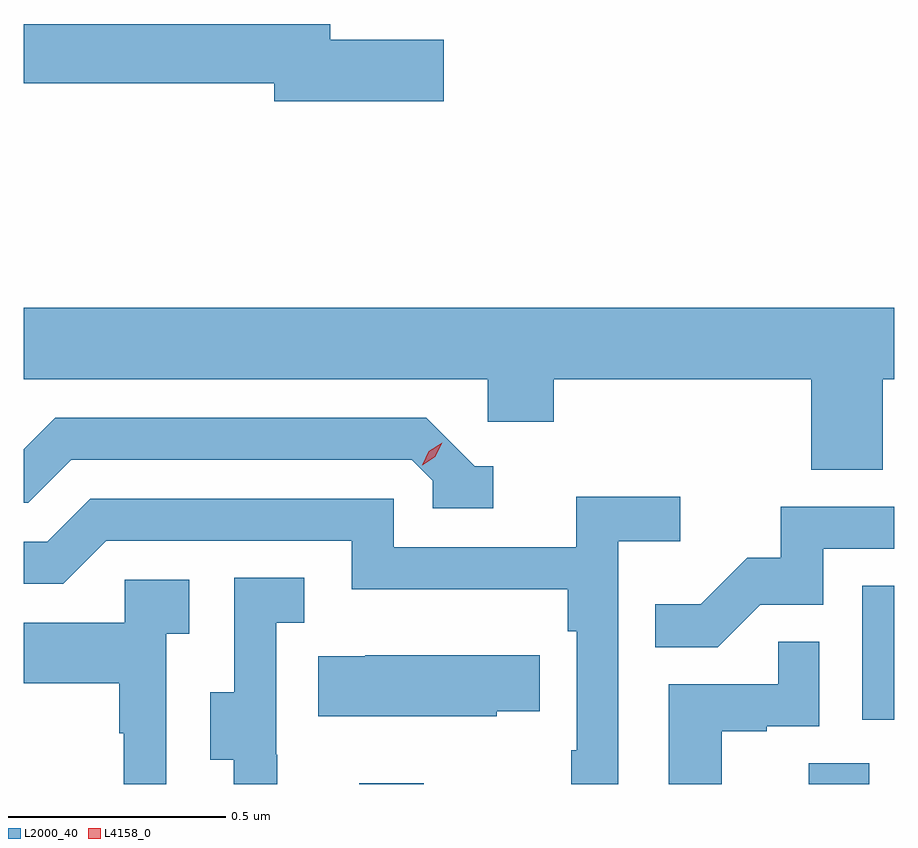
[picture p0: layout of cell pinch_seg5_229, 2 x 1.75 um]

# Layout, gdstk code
import gdstk
lib = gdstk.Library(unit=1e-6, precision=1e-09)
def R(c, l, rs):  # rectangles x0, y0, x1, y1
    for r in rs: c.add(gdstk.rectangle(r[:2], r[2:], *l))
def P(c, l, *ps):  # polygons
    for p in ps: c.add(gdstk.Polygon(p, *l))
L2000_40 = (2000, 40)
L4158_0 = (4158, 0)

pinch_seg5_229 = lib.new_cell('pinch_seg5_229')
R(pinch_seg5_229, L2000_40, [(961.409,907.778,961.557,907.78), (962.441,907.778,962.581,907.826), (962.564,907.926,962.638,908.233)])
P(pinch_seg5_229, L2000_40, [(961.603,909.488),(961.342,909.488),(961.342,909.524),(960.638,909.524),(960.638,909.388),(961.214,909.388),(961.214,909.346),(961.603,909.346)],
  [(962.612,908.708),(962.638,908.708),(962.638,908.872),(960.638,908.872),(960.638,908.708),(961.704,908.708),(961.704,908.61),(961.856,908.61),(961.856,908.708),(962.447,908.708),(962.447,908.5),(962.612,908.5)],
  [(961.717,908.508),(961.674,908.508),(961.563,908.619),(960.71,908.619),(960.638,908.547),(960.638,908.424),(960.648,908.424),(960.747,908.523),(961.53,908.523),(961.578,908.475),(961.578,908.412),(961.717,908.412)],
  [(962.004,908.336),(962.146,908.336),(962.146,908.438),(961.907,908.438),(961.907,908.322),(961.488,908.322),(961.488,908.433),(960.791,908.433),(960.692,908.334),(960.638,908.334),(960.638,908.238),(960.729,908.238),(960.828,908.337),(961.392,908.337),(961.392,908.225),(961.888,908.225),(961.888,908.129),(961.908,908.129),(961.908,907.856),(961.896,907.856),(961.896,907.778),(962.004,907.778)],
  [(962.33,908.19),(962.475,908.19),(962.475,908.319),(962.638,908.319),(962.638,908.415),(962.377,908.415),(962.377,908.298),(962.3,908.298),(962.193,908.191),(962.089,908.191),(962.089,908.092),(962.232,908.092)],
  [(961.22,907.845),(961.218,907.845),(961.218,908.149),(961.282,908.149),(961.282,908.252),(961.122,908.252),(961.122,907.989),(961.067,907.989),(961.067,907.834),(961.121,907.834),(961.121,907.778),(961.22,907.778)],
  [(960.966,908.123),(961.018,908.123),(961.018,908.247),(960.87,908.247),(960.87,908.149),(960.638,908.149),(960.638,908.009),(960.858,908.009),(960.858,907.895),(960.868,907.895),(960.868,907.778),(960.966,907.778)],
  [(962.242,907.899),(962.345,907.899),(962.345,907.911),(962.466,907.911),(962.466,908.105),(962.371,908.105),(962.371,908.007),(962.12,908.007),(962.12,907.778),(962.242,907.778)],
  [(961.725,907.945),(961.823,907.945),(961.823,908.074),(961.423,908.074),(961.423,908.071),(961.315,908.071),(961.315,907.934),(961.725,907.934)])
P(pinch_seg5_229, L4158_0, [(961.553,908.51),(961.553,908.51),(961.569,908.543),(961.599,908.562),(961.6,908.562),(961.6,908.562),(961.584,908.53),(961.553,908.51)])

lib.write_gds('pinch_seg5_229.gds')
